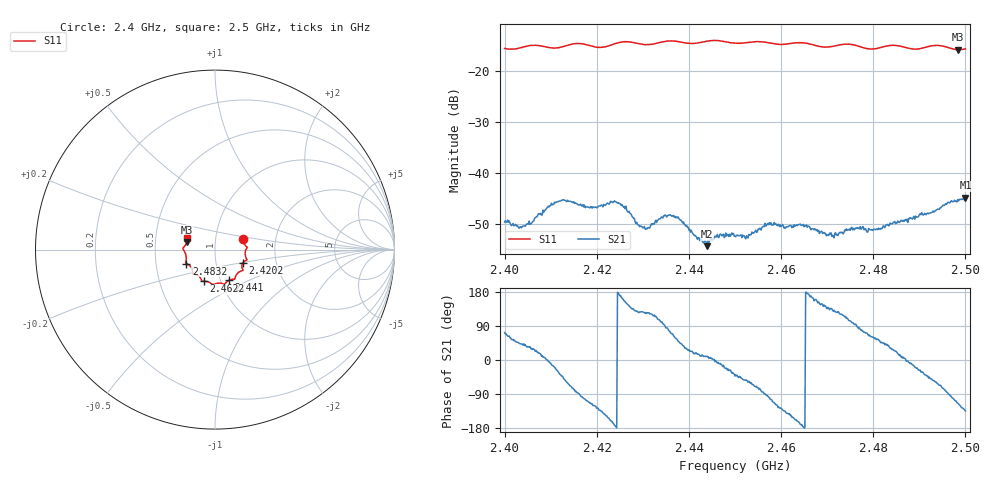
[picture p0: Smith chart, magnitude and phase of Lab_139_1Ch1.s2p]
# Hz S RI R 50
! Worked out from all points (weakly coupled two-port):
!   601 points, 2.4 GHz to 2.5 GHz, reference 50 ohm
!   highest |S21| = -44.80 dB at 2.5 GHz (marker M1); lowest = -54.3 dB at 2.444 GHz (marker M2)
!   lowest |S11| = -15.8 dB at 2.4983 GHz (marker M3), VSWR 1.39, Z = 36.3 + j3.02 ohm
!   |S11| at or under -10 dB: start of sweep to end of sweep
!   S12 and S22 are empty: the file has one direction only
!   S11 on the Smith chart (normalised r, x): 2.4 GHz: 1.36, +0.17; 2.4202 GHz: 1.35, -0.20; 2.441 GHz: 1.09, -0.39; 2.4622 GHz: 0.83, -0.30; 2.4832 GHz: 0.72, -0.12; 2.5 GHz: 0.73, +0.09
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2.4e9  0.1566 0.0593  0.001 0.00317  0 0  0 0
2.404e9  0.1718 0.02  0.00236 0.00193  0 0  0 0
2.412333e9  0.1695 -0.0347  0.00403 -0.00367  0 0  0 0
2.416667e9  0.1772 -0.0583  -0.000579 -0.00477  0 0  0 0
2.420167e9  0.1559 -0.0725  -0.00275 -0.0037  0 0  0 0
2.424333e9  0.154 -0.1094  -0.0052 -7.25e-05  0 0  0 0
2.4305e9  0.1293 -0.1282  -0.00164 0.00232  0 0  0 0
2.433333e9  0.1131 -0.1524  -0.00102 0.00335  0 0  0 0
2.437167e9  0.1074 -0.1652  0.00199 0.00307  0 0  0 0
2.441e9  0.0766 -0.1711  0.00241 0.000738  0 0  0 0
2.444e9  0.0572 -0.189  0.00191 0.000296  0 0  0 0
2.4465e9  0.0501 -0.193  0.00231 -0.000369  0 0  0 0
2.45e9  0.0261 -0.1866  0.00178 -0.00163  0 0  0 0
2.452667e9  0.00218 -0.1911  0.00137 -0.00194  0 0  0 0
2.457333e9  -0.0209 -0.1889  -0.000437 -0.00311  0 0  0 0
2.462167e9  -0.0632 -0.1766  -0.00255 -0.00172  0 0  0 0
2.466667e9  -0.0767 -0.1665  -0.00277 0.000722  0 0  0 0
2.4715e9  -0.1112 -0.1375  -0.00154 0.00176  0 0  0 0
2.483167e9  -0.1597 -0.0781  0.00249 0.00196  0 0  0 0
2.483333e9  -0.1605 -0.0777  0.00241 0.00188  0 0  0 0
2.498333e9  -0.1573 0.0405  -0.0022 -0.00507  0 0  0 0
2.5e9  -0.1536 0.0632  -0.00403 -0.00411  0 0  0 0
